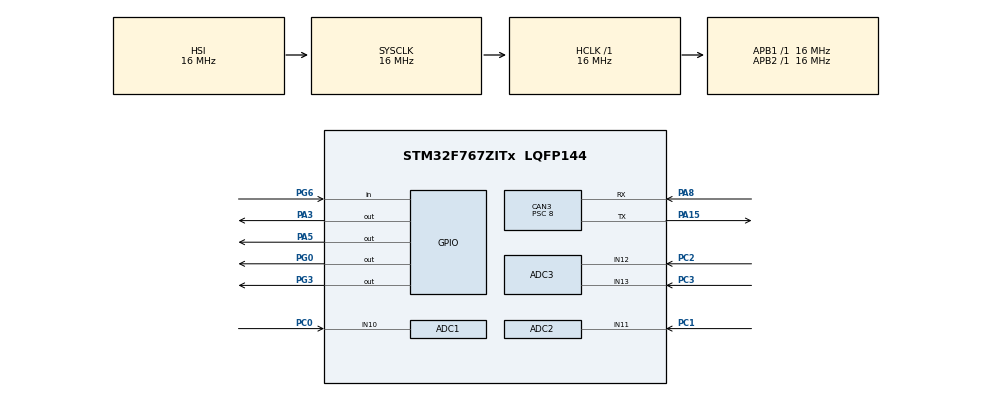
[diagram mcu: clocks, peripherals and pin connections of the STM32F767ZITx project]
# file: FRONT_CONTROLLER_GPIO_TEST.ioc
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ADC1.Channel-0\#ChannelRegularConversion=ADC_CHANNEL_10
ADC1.ClockPrescaler=ADC_CLOCK_SYNC_PCLK_DIV4
ADC1.NbrOfConversionFlag=1
ADC1.Rank-0\#ChannelRegularConversion=1
ADC1.SamplingTime-0\#ChannelRegularConversion=ADC_SAMPLETIME_3CYCLES
ADC1.master=1
ADC2.Channel-0\#ChannelRegularConversion=ADC_CHANNEL_11
ADC2.ClockPrescaler=ADC_CLOCK_SYNC_PCLK_DIV4
ADC2.NbrOfConversionFlag=1
ADC2.Rank-0\#ChannelRegularConversion=1
ADC2.SamplingTime-0\#ChannelRegularConversion=ADC_SAMPLETIME_3CYCLES
ADC3.Channel-0\#ChannelRegularConversion=ADC_CHANNEL_12
ADC3.ClockPrescaler=ADC_CLOCK_SYNC_PCLK_DIV4
ADC3.NbrOfConversionFlag=1
ADC3.Rank-0\#ChannelRegularConversion=1
ADC3.SamplingTime-0\#ChannelRegularConversion=ADC_SAMPLETIME_3CYCLES
CAN3.BS1=CAN_BS1_2TQ
CAN3.CalculateBaudRate=500000
CAN3.CalculateTimeBit=2000
CAN3.CalculateTimeQuantum=500.0
CAN3.Prescaler=8
Mcu.Family=STM32F7
Mcu.Name=STM32F767ZITx
Mcu.Package=LQFP144
NVIC.CAN3_RX0_IRQn=true\:0\:0\:false\:false\:true\:true\:true
NVIC.CAN3_RX1_IRQn=true\:0\:0\:false\:false\:true\:true\:true
NVIC.PriorityGroup=NVIC_PRIORITYGROUP_4
PA15.Mode=CAN_Activate
PA15.Signal=CAN3_TX
PA3.GPIO_ModeDefaultOutputPP=GPIO_MODE_OUTPUT_PP
PA3.PinState=GPIO_PIN_RESET
PA3.Signal=GPIO_Output
PA5.PinState=GPIO_PIN_RESET
PA5.Signal=GPIO_Output
PA8.Mode=CAN_Activate
PA8.Signal=CAN3_RX
PC0.Signal=ADCx_IN10
PC1.Signal=ADCx_IN11
PC2.Signal=ADCx_IN12
PC3.Signal=ADCx_IN13
PG0.PinState=GPIO_PIN_RESET
PG0.Signal=GPIO_Output
PG3.PinState=GPIO_PIN_RESET
PG3.Signal=GPIO_Output
PG6.Signal=GPIO_Input
ProjectManager.HeapSize=0x200
ProjectManager.StackSize=0x400
ProjectManager.TargetToolchain=STM32CubeIDE
RCC.AHBFreq_Value=16000000
RCC.APB1Freq_Value=16000000
RCC.APB1TimFreq_Value=16000000
RCC.APB2Freq_Value=16000000
RCC.APB2TimFreq_Value=16000000
RCC.CortexFreq_Value=16000000
RCC.HCLKFreq_Value=16000000
RCC.HSE_VALUE=25000000
RCC.HSI_VALUE=16000000
RCC.LSE_VALUE=32768
RCC.PLLN=432
RCC.SYSCLKFreq_VALUE=16000000
RCC.USBFreq_Value=216000000
RCC.VCOOutputFreq_Value=432000000
SH.ADCx_IN10.0=ADC1_IN10,IN10
SH.ADCx_IN11.0=ADC2_IN11,IN11
SH.ADCx_IN12.0=ADC3_IN12,IN12
SH.ADCx_IN13.0=ADC3_IN13,IN13
board=custom

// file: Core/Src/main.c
/* USER CODE BEGIN Header */
/**
  ******************************************************************************
  * @file           : main.c
  * @brief          : Main program body
  ******************************************************************************
  * @attention
  *
  * Copyright (c) 2022 STMicroelectronics.
  * All rights reserved.
  *
  * This software is licensed under terms that can be found in the LICENSE file
  * in the root directory of this software component.
  * If no LICENSE file comes with this software, it is provided AS-IS.
  *
  ******************************************************************************
  */
/* USER CODE END Header */
#include "main.h"

ADC_HandleTypeDef hadc1;
ADC_HandleTypeDef hadc2;
ADC_HandleTypeDef hadc3;

CAN_HandleTypeDef hcan3;

/* USER CODE BEGIN PV */
CAN_TxHeaderTypeDef   TxHeader;
CAN_RxHeaderTypeDef   RxHeader;
uint8_t               TxData[8];
uint8_t               TxData2[8];
uint8_t               RxData[8];
uint32_t              TxMailbox;
int num_receives = 0;
/* USER CODE END PV */

void SystemClock_Config(void);
static void MX_GPIO_Init(void);
static void MX_ADC1_Init(void);
static void MX_ADC2_Init(void);
static void MX_ADC3_Init(void);
static void MX_CAN3_Init(void);
/* USER CODE BEGIN PFP */
static void CAN_Config(void);
/* USER CODE END PFP */

int main(void)
{

  /* MCU Configuration--------------------------------------------------------*/

  /* Reset of all peripherals, Initializes the Flash interface and the Systick. */
  HAL_Init();

  /* Configure the system clock */
  SystemClock_Config();

  /* Initialize all configured peripherals */
  MX_GPIO_Init();
  MX_ADC1_Init();
  MX_ADC2_Init();
  MX_ADC3_Init();
  MX_CAN3_Init();
  /* USER CODE BEGIN 2 */
  CAN_Config();
    if (HAL_CAN_ActivateNotification(&hcan3, CAN_IT_RX_FIFO0_MSG_PENDING) != HAL_OK)
      {
        /* Notification Error */
        Error_Handler();
      }

    	TxHeader.StdId = 0x529;
        TxHeader.ExtId = 0x01;
        TxHeader.RTR = CAN_RTR_DATA;
        TxHeader.IDE = CAN_ID_STD;
        TxHeader.DLC = 8;
        TxHeader.TransmitGlobalTime = DISABLE;

        TxData[0] = 0x01;
        TxData[1] = 0xA1;
        TxData[2] = 0xB1;
        TxData[3] = 0xC1;
        TxData[4] = 0x00;
        TxData[5] = 0x00;
        TxData[6] = 0x00;
        TxData[7] = 0x00;
        TxData[8] = 0x00;

        TxData2[0] = 0x01;
        TxData2[1] = 0x11;
        TxData2[2] = 0x11;
        TxData2[3] = 0x11;
        TxData2[4] = 0x10;
        TxData2[5] = 0x17;
        TxData2[6] = 0x10;
        TxData2[7] = 0x14;
        TxData2[8] = 0x13;

        HAL_GPIO_WritePin(GPIOA, GPIO_PIN_3, GPIO_PIN_SET);

        int count = 0;
        //HAL_GPIO_WritePin(GPIOA, GPIO_PIN_3, GPIO_PIN_SET);
  /* USER CODE END 2 */

  /* Infinite loop */
  /* USER CODE BEGIN WHILE */
  while (1)
  {
	  if (count == 0)
	  {
		  HAL_CAN_AddTxMessage(&hcan3, &TxHeader, TxData, &TxMailbox);
		  count = 1;
	  }
	  else
	  {
		  HAL_CAN_AddTxMessage(&hcan3, &TxHeader, TxData2, &TxMailbox);
		  count = 0;
	  }
	  HAL_Delay(500);
	  HAL_GPIO_TogglePin(GPIOA, GPIO_PIN_3);
    /* USER CODE END WHILE */

  }
}

void SystemClock_Config(void)
{
  RCC_OscInitTypeDef RCC_OscInitStruct = {0};
  RCC_ClkInitTypeDef RCC_ClkInitStruct = {0};

  /** Configure the main internal regulator output voltage
  */
  __HAL_RCC_PWR_CLK_ENABLE();
  __HAL_PWR_VOLTAGESCALING_CONFIG(PWR_REGULATOR_VOLTAGE_SCALE3);
  /** Initializes the RCC Oscillators according to the specified parameters
  * in the RCC_OscInitTypeDef structure.
  */
  RCC_OscInitStruct.OscillatorType = RCC_OSCILLATORTYPE_HSI;
  RCC_OscInitStruct.HSIState = RCC_HSI_ON;
  RCC_OscInitStruct.HSICalibrationValue = RCC_HSICALIBRATION_DEFAULT;
  RCC_OscInitStruct.PLL.PLLState = RCC_PLL_NONE;
  if (HAL_RCC_OscConfig(&RCC_OscInitStruct) != HAL_OK)
  {
    Error_Handler();
  }
  /** Initializes the CPU, AHB and APB buses clocks
  */
  RCC_ClkInitStruct.ClockType = RCC_CLOCKTYPE_HCLK|RCC_CLOCKTYPE_SYSCLK
                              |RCC_CLOCKTYPE_PCLK1|RCC_CLOCKTYPE_PCLK2;
  RCC_ClkInitStruct.SYSCLKSource = RCC_SYSCLKSOURCE_HSI;
  RCC_ClkInitStruct.AHBCLKDivider = RCC_SYSCLK_DIV1;
  RCC_ClkInitStruct.APB1CLKDivider = RCC_HCLK_DIV1;
  RCC_ClkInitStruct.APB2CLKDivider = RCC_HCLK_DIV1;

  if (HAL_RCC_ClockConfig(&RCC_ClkInitStruct, FLASH_LATENCY_0) != HAL_OK)
  {
    Error_Handler();
  }
}

static void MX_ADC1_Init(void)
{

  ADC_ChannelConfTypeDef sConfig = {0};

  /** Configure the global features of the ADC (Clock, Resolution, Data Alignment and number of conversion)
  */
  hadc1.Instance = ADC1;
  hadc1.Init.ClockPrescaler = ADC_CLOCK_SYNC_PCLK_DIV4;
  hadc1.Init.Resolution = ADC_RESOLUTION_12B;
  hadc1.Init.ScanConvMode = ADC_SCAN_DISABLE;
  hadc1.Init.ContinuousConvMode = DISABLE;
  hadc1.Init.DiscontinuousConvMode = DISABLE;
  hadc1.Init.ExternalTrigConvEdge = ADC_EXTERNALTRIGCONVEDGE_NONE;
  hadc1.Init.ExternalTrigConv = ADC_SOFTWARE_START;
  hadc1.Init.DataAlign = ADC_DATAALIGN_RIGHT;
  hadc1.Init.NbrOfConversion = 1;
  hadc1.Init.DMAContinuousRequests = DISABLE;
  hadc1.Init.EOCSelection = ADC_EOC_SINGLE_CONV;
  if (HAL_ADC_Init(&hadc1) != HAL_OK)
  {
    Error_Handler();
  }
  /** Configure for the selected ADC regular channel its corresponding rank in the sequencer and its sample time.
  */
  sConfig.Channel = ADC_CHANNEL_10;
  sConfig.Rank = ADC_REGULAR_RANK_1;
  sConfig.SamplingTime = ADC_SAMPLETIME_3CYCLES;
  if (HAL_ADC_ConfigChannel(&hadc1, &sConfig) != HAL_OK)
  {
    Error_Handler();
  }

}

static void MX_ADC2_Init(void)
{

  ADC_ChannelConfTypeDef sConfig = {0};

  /** Configure the global features of the ADC (Clock, Resolution, Data Alignment and number of conversion)
  */
  hadc2.Instance = ADC2;
  hadc2.Init.ClockPrescaler = ADC_CLOCK_SYNC_PCLK_DIV4;
  hadc2.Init.Resolution = ADC_RESOLUTION_12B;
  hadc2.Init.ScanConvMode = ADC_SCAN_DISABLE;
  hadc2.Init.ContinuousConvMode = DISABLE;
  hadc2.Init.DiscontinuousConvMode = DISABLE;
  hadc2.Init.ExternalTrigConvEdge = ADC_EXTERNALTRIGCONVEDGE_NONE;
  hadc2.Init.ExternalTrigConv = ADC_SOFTWARE_START;
  hadc2.Init.DataAlign = ADC_DATAALIGN_RIGHT;
  hadc2.Init.NbrOfConversion = 1;
  hadc2.Init.DMAContinuousRequests = DISABLE;
  hadc2.Init.EOCSelection = ADC_EOC_SINGLE_CONV;
  if (HAL_ADC_Init(&hadc2) != HAL_OK)
  {
    Error_Handler();
  }
  /** Configure for the selected ADC regular channel its corresponding rank in the sequencer and its sample time.
  */
  sConfig.Channel = ADC_CHANNEL_11;
  sConfig.Rank = ADC_REGULAR_RANK_1;
  sConfig.SamplingTime = ADC_SAMPLETIME_3CYCLES;
  if (HAL_ADC_ConfigChannel(&hadc2, &sConfig) != HAL_OK)
  {
    Error_Handler();
  }

}

static void MX_ADC3_Init(void)
{

  ADC_ChannelConfTypeDef sConfig = {0};

  /** Configure the global features of the ADC (Clock, Resolution, Data Alignment and number of conversion)
  */
  hadc3.Instance = ADC3;
  hadc3.Init.ClockPrescaler = ADC_CLOCK_SYNC_PCLK_DIV4;
  hadc3.Init.Resolution = ADC_RESOLUTION_12B;
  hadc3.Init.ScanConvMode = ADC_SCAN_DISABLE;
  hadc3.Init.ContinuousConvMode = DISABLE;
  hadc3.Init.DiscontinuousConvMode = DISABLE;
  hadc3.Init.ExternalTrigConvEdge = ADC_EXTERNALTRIGCONVEDGE_NONE;
  hadc3.Init.ExternalTrigConv = ADC_SOFTWARE_START;
  hadc3.Init.DataAlign = ADC_DATAALIGN_RIGHT;
  hadc3.Init.NbrOfConversion = 1;
  hadc3.Init.DMAContinuousRequests = DISABLE;
  hadc3.Init.EOCSelection = ADC_EOC_SINGLE_CONV;
  if (HAL_ADC_Init(&hadc3) != HAL_OK)
  {
    Error_Handler();
  }
  /** Configure for the selected ADC regular channel its corresponding rank in the sequencer and its sample time.
  */
  sConfig.Channel = ADC_CHANNEL_12;
  sConfig.Rank = ADC_REGULAR_RANK_1;
  sConfig.SamplingTime = ADC_SAMPLETIME_3CYCLES;
  if (HAL_ADC_ConfigChannel(&hadc3, &sConfig) != HAL_OK)
  {
    Error_Handler();
  }

}

static void MX_CAN3_Init(void)
{

  hcan3.Instance = CAN3;
  hcan3.Init.Prescaler = 8;
  hcan3.Init.Mode = CAN_MODE_NORMAL;
  hcan3.Init.SyncJumpWidth = CAN_SJW_1TQ;
  hcan3.Init.TimeSeg1 = CAN_BS1_2TQ;
  hcan3.Init.TimeSeg2 = CAN_BS2_1TQ;
  hcan3.Init.TimeTriggeredMode = DISABLE;
  hcan3.Init.AutoBusOff = DISABLE;
  hcan3.Init.AutoWakeUp = DISABLE;
  hcan3.Init.AutoRetransmission = DISABLE;
  hcan3.Init.ReceiveFifoLocked = DISABLE;
  hcan3.Init.TransmitFifoPriority = DISABLE;
  if (HAL_CAN_Init(&hcan3) != HAL_OK)
  {
    Error_Handler();
  }

}

static void MX_GPIO_Init(void)
{
  GPIO_InitTypeDef GPIO_InitStruct = {0};

  /* GPIO Ports Clock Enable */
  __HAL_RCC_GPIOC_CLK_ENABLE();
  __HAL_RCC_GPIOA_CLK_ENABLE();
  __HAL_RCC_GPIOG_CLK_ENABLE();

  /*Configure GPIO pin Output Level */
  HAL_GPIO_WritePin(GPIOA, GPIO_PIN_3|GPIO_PIN_5, GPIO_PIN_RESET);

  /*Configure GPIO pin Output Level */
  HAL_GPIO_WritePin(GPIOG, GPIO_PIN_0|GPIO_PIN_3, GPIO_PIN_RESET);

  /*Configure GPIO pins : PA3 PA5 */
  GPIO_InitStruct.Pin = GPIO_PIN_3|GPIO_PIN_5;
  GPIO_InitStruct.Mode = GPIO_MODE_OUTPUT_PP;
  GPIO_InitStruct.Pull = GPIO_NOPULL;
  GPIO_InitStruct.Speed = GPIO_SPEED_FREQ_LOW;
  HAL_GPIO_Init(GPIOA, &GPIO_InitStruct);

  /*Configure GPIO pins : PG0 PG3 */
  GPIO_InitStruct.Pin = GPIO_PIN_0|GPIO_PIN_3;
  GPIO_InitStruct.Mode = GPIO_MODE_OUTPUT_PP;
  GPIO_InitStruct.Pull = GPIO_NOPULL;
  GPIO_InitStruct.Speed = GPIO_SPEED_FREQ_LOW;
  HAL_GPIO_Init(GPIOG, &GPIO_InitStruct);

  /*Configure GPIO pin : PG6 */
  GPIO_InitStruct.Pin = GPIO_PIN_6;
  GPIO_InitStruct.Mode = GPIO_MODE_INPUT;
  GPIO_InitStruct.Pull = GPIO_NOPULL;
  HAL_GPIO_Init(GPIOG, &GPIO_InitStruct);

}

/* USER CODE BEGIN 4 */
static void CAN_Config(void)
{
	CAN_FilterTypeDef  sFilterConfig;
	sFilterConfig.FilterBank = 0;
	sFilterConfig.FilterMode = CAN_FILTERMODE_IDMASK;
	sFilterConfig.FilterScale = CAN_FILTERSCALE_32BIT;
	sFilterConfig.FilterIdHigh = 0x0000;
	sFilterConfig.FilterIdLow = 0x0000;
	sFilterConfig.FilterMaskIdHigh = 0x0000;
	sFilterConfig.FilterMaskIdLow = 0x0000;
	sFilterConfig.FilterFIFOAssignment = CAN_RX_FIFO0;
	sFilterConfig.FilterActivation = ENABLE;
	sFilterConfig.SlaveStartFilterBank = 14;

	if (HAL_CAN_ConfigFilter(&hcan3, &sFilterConfig) != HAL_OK)
	  {
	    /* Filter configuration Error */
	    Error_Handler();
	  }

	if (HAL_CAN_Start(&hcan3) != HAL_OK)
	{
	    /* Start Error */
	    Error_Handler();
	}

}

void HAL_CAN_RxFifo0MsgPendingCallback(CAN_HandleTypeDef *hcan)
{
   //HAL_GPIO_TogglePin(GPIOA, GPIO_PIN_5);
  num_receives++;
  /* Get RX message */
  if (HAL_CAN_GetRxMessage(hcan, CAN_RX_FIFO0, &RxHeader, RxData) != HAL_OK)
  {
    /* Reception Error */
    Error_Handler();
  }

  if (RxData[0] == 0x04 && RxData[1] == 0x04 && RxData[2] == 0x04 && RxData[3] == 0x04 && RxData[4] == 0x04 && RxData[5] == 0x04 && RxData[6] == 0x04 && RxData[7] == 0x04)
  {
	  if (RxHeader.StdId == 0x511 && num_receives >= 5)
	  {
		  HAL_GPIO_TogglePin(GPIOA, GPIO_PIN_5);
		  num_receives = 0;
	  }
  }

  //HAL_GPIO_TogglePin(LD1_GPIO_Port, LD1_Pin);
}
/* USER CODE END 4 */

void Error_Handler(void)
{
  /* USER CODE BEGIN Error_Handler_Debug */
  /* User can add his own implementation to report the HAL error return state */
	//HAL_GPIO_WritePin(GPIOA, GPIO_PIN_5, GPIO_PIN_SET);
  __disable_irq();
  while (1)
  {
  }
  /* USER CODE END Error_Handler_Debug */
}
